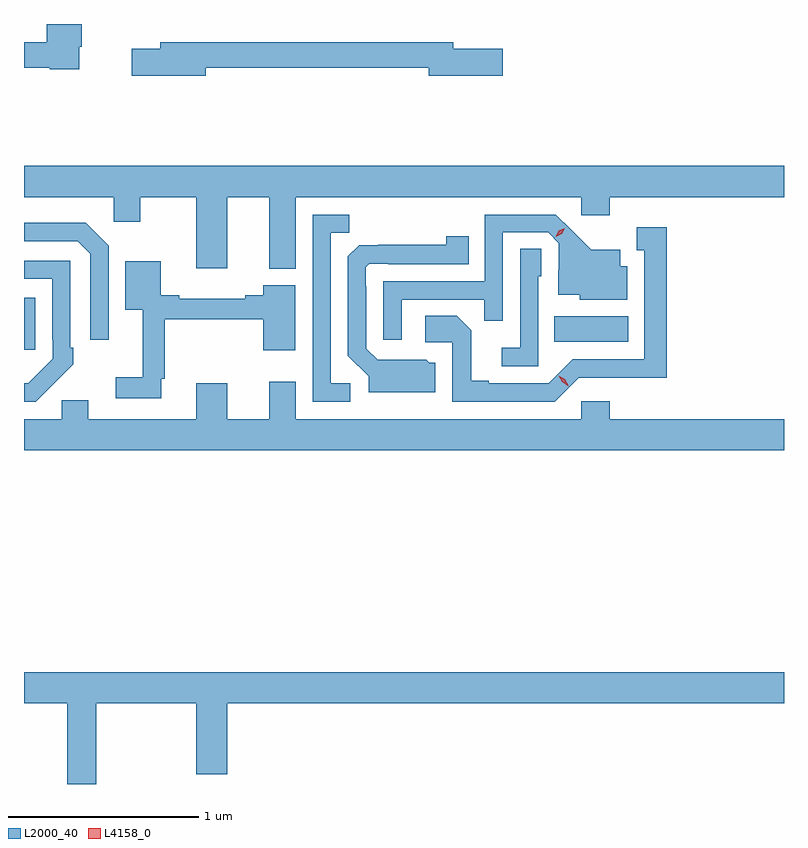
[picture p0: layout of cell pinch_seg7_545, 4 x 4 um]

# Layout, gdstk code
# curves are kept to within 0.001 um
import gdstk
lib = gdstk.Library(unit=1e-6, precision=1e-09)
def R(c, l, rs):  # rectangles x0, y0, x1, y1
    for r in rs: c.add(gdstk.rectangle(r[:2], r[2:], *l))
def P(c, l, *ps):  # polygons
    for p in ps: c.add(gdstk.Polygon(p, *l))
L2000_40 = (2000, 40)
L4158_0 = (4158, 0)

pinch_seg7_545 = lib.new_cell('pinch_seg7_545')
R(pinch_seg7_545, L2000_40, [(128.138,1051.761,128.197,1052.035), (130.93,1051.802,131.317,1051.936)])
P(pinch_seg7_545, L2000_40, [(128.428,1053.355),(128.441,1053.355),(128.441,1053.475),(128.258,1053.475),(128.258,1053.38),(128.138,1053.38),(128.138,1053.244),(128.274,1053.244),(128.274,1053.236),(128.428,1053.236)],
  [(129.094,1053.244),(130.268,1053.244),(130.268,1053.202),(130.657,1053.202),(130.657,1053.344),(130.396,1053.344),(130.396,1053.38),(128.855,1053.38),(128.855,1053.344),(128.706,1053.344),(128.706,1053.202),(129.094,1053.202)],
  [(129.568,1052.564),(131.07,1052.564),(131.07,1052.469),(131.222,1052.469),(131.222,1052.564),(132.138,1052.564),(132.138,1052.728),(128.138,1052.728),(128.138,1052.564),(128.61,1052.564),(128.61,1052.433),(128.749,1052.433),(128.749,1052.564),(129.044,1052.564),(129.044,1052.19),(129.208,1052.19),(129.208,1052.564),(129.428,1052.564),(129.428,1052.186),(129.568,1052.186)],
  [(130.125,1052.025),(130.561,1052.025),(130.561,1051.912),(130.659,1051.912),(130.659,1052.379),(130.896,1052.379),(130.953,1052.322),(130.953,1052.18),(130.949,1052.18),(130.949,1052.051),(131.064,1052.051),(131.064,1052.024),(131.314,1052.024),(131.314,1052.2),(131.275,1052.2),(131.275,1052.287),(131.123,1052.287),(130.936,1052.472),(130.563,1052.472),(130.563,1052.121),(130.029,1052.121),(130.029,1051.812),(130.125,1051.812)],
  [(129.856,1051.584),(129.753,1051.584),(129.753,1052.377),(129.849,1052.377),(129.849,1052.472),(129.657,1052.472),(129.657,1051.488),(129.856,1051.488)],
  [(128.583,1052.307),(128.462,1052.428),(128.138,1052.428),(128.138,1052.331),(128.421,1052.331),(128.487,1052.265),(128.487,1051.812),(128.583,1051.812)],
  [(131.058,1051.614),(131.521,1051.613),(131.521,1052.404),(131.363,1052.404),(131.363,1052.283),(131.402,1052.283),(131.402,1051.71),(131.025,1051.71),(130.899,1051.584),(130.585,1051.584),(130.585,1051.597),(130.491,1051.597),(130.491,1051.864),(130.415,1051.94),(130.251,1051.94),(130.251,1051.8),(130.392,1051.8),(130.392,1051.488),(130.932,1051.488)],
  [(130.303,1051.692),(130.272,1051.692),(130.256,1051.708),(129.999,1051.707),(129.939,1051.767),(129.939,1052.096),(129.936,1052.096),(129.936,1052.196),(129.954,1052.214),(130.054,1052.214),(130.054,1052.211),(130.478,1052.211),(130.478,1052.359),(130.36,1052.359),(130.36,1052.312),(129.902,1052.311),(129.843,1052.252),(129.843,1051.73),(129.953,1051.62),(129.953,1051.538),(130.303,1051.538)],
  [(130.845,1052.148),(130.86,1052.148),(130.86,1052.291),(130.749,1052.291),(130.749,1051.771),(130.653,1051.771),(130.653,1051.674),(130.845,1051.674)],
  [(128.291,1051.579),(128.292,1051.578),(128.397,1051.683),(128.397,1051.771),(128.382,1051.771),(128.382,1052.229),(128.138,1052.229),(128.138,1052.133),(128.286,1052.133),(128.286,1051.813),(128.289,1051.813),(128.289,1051.713),(128.161,1051.585),(128.138,1051.585),(128.138,1051.488),(128.2,1051.488)],
  [(128.861,1051.609),(128.879,1051.609),(128.879,1051.92),(129.398,1051.92),(129.398,1051.758),(129.565,1051.758),(129.565,1052.101),(129.398,1052.101),(129.398,1052.048),(129.302,1052.048),(129.302,1052.029),(128.956,1052.029),(128.956,1052.048),(128.859,1052.048),(128.859,1052.227),(128.672,1052.227),(128.672,1051.97),(128.762,1051.97),(128.762,1051.615),(128.622,1051.615),(128.622,1051.506),(128.861,1051.506)],
  [(132.138,1051.396),(131.222,1051.396),(131.222,1051.489),(131.07,1051.489),(131.07,1051.396),(129.568,1051.396),(129.568,1051.591),(129.428,1051.591),(129.428,1051.396),(129.208,1051.396),(129.208,1051.585),(129.044,1051.585),(129.044,1051.396),(128.476,1051.396),(128.476,1051.494),(128.337,1051.494),(128.337,1051.396),(128.138,1051.396),(128.138,1051.232),(132.138,1051.232)],
  [(128.519,1049.9),(129.044,1049.9),(129.044,1049.526),(129.208,1049.526),(129.208,1049.9),(132.138,1049.9),(132.138,1050.064),(128.138,1050.064),(128.138,1049.9),(128.366,1049.9),(128.366,1049.475),(128.519,1049.475)])
P(pinch_seg7_545, L4158_0, [(131.001,1051.572),(130.97,1051.591),(130.953,1051.624),(130.953,1051.624),(130.953,1051.624),(130.984,1051.605),(131.002,1051.573),(131.002,1051.572)],
  [(130.936,1052.356),(130.936,1052.356),(130.953,1052.386),(130.983,1052.401),(130.984,1052.401),(130.984,1052.401),(130.967,1052.371),(130.936,1052.356)])

lib.write_gds('pinch_seg7_545.gds')
